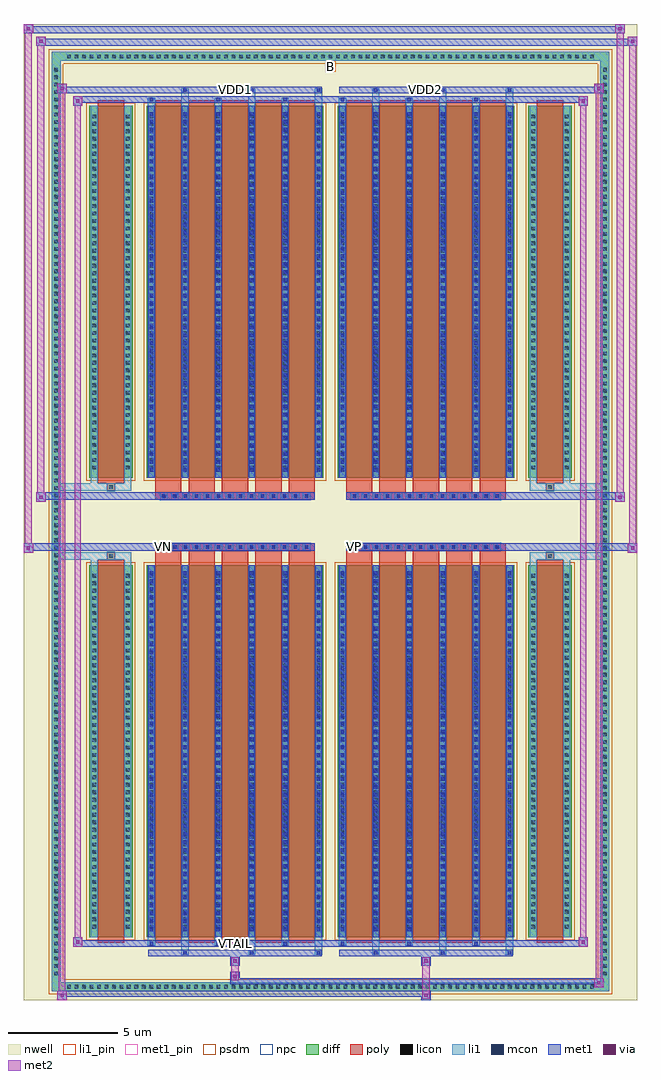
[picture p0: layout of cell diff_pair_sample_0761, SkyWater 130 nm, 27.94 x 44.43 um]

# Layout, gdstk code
import gdstk
lib = gdstk.Library(unit=1e-6, precision=5e-09)
def R(c, l, rs):  # rectangles x0, y0, x1, y1
    for r in rs: c.add(gdstk.rectangle(r[:2], r[2:], *l))
def A(c, l, x, y, w, h, nx, ny, dx, dy):  # array of equal rectangles
    R(c, l, [(x+i*dx, y+j*dy, x+i*dx+w, y+j*dy+h) for i in range(nx) for j in range(ny)])
def P(c, l, *ps):  # polygons
    for p in ps: c.add(gdstk.Polygon(p, *l))
nwell = (64, 20)
diff = (65, 20)
poly = (66, 20)
licon = (66, 44)
li1_pin = (67, 16)
li1 = (67, 20)
mcon = (67, 44)
met1_pin = (68, 16)
met1 = (68, 20)
via = (68, 44)
met2 = (69, 20)
psdm = (94, 20)
npc = (95, 20)

diff_pair_sample_0761 = lib.new_cell('diff_pair_sample_0761')
R(diff_pair_sample_0761, nwell, [(-13.97,-21.78,13.97,22.65), (-11.29,-19.97,-0.01,-0.795), (0.01,-19.97,11.29,-0.795), (-11.29,0.795,-0.01,19.97), (0.01,0.795,11.29,19.97)])
A(diff_pair_sample_0761, diff, -12.105, -21.38, 0.41, 0.41, 71, 2, 0.34, 42.35)
A(diff_pair_sample_0761, diff, -12.7, -20.775, 0.41, 0.41, 1, 122, 0, 0.34)
A(diff_pair_sample_0761, diff, 12.29, -20.775, 0.41, 0.41, 1, 122, 0, 0.34)
R(diff_pair_sample_0761, diff, [(-12.105,-21.38,12.105,-20.97), (-12.7,-20.775,-12.29,20.775), (12.29,-20.775,12.7,20.775), (-10.98,-18.925,-9.01,-1.985), (-8.37,-18.925,-0.32,-1.985), (0.32,-18.925,8.37,-1.985), (9.01,-18.925,10.98,-1.985), (-10.98,1.985,-9.01,18.925), (-8.37,1.985,-0.32,18.925), (0.32,1.985,8.37,18.925), (9.01,1.985,10.98,18.925), (-12.105,20.97,12.105,21.38)])
P(diff_pair_sample_0761, diff, [(12.7,21.38),(-12.7,21.38),(-12.7,-20.97),(-12.29,-20.97),(-12.29,20.97),(12.29,20.97),(12.29,-20.97),(-12.29,-20.97),(-12.7,-20.97),(-12.7,-21.38),(12.7,-21.38)])
A(diff_pair_sample_0761, poly, -7.98, -19.175, 1.19, 17.44, 5, 2, 1.52, 20.91)
A(diff_pair_sample_0761, poly, 0.71, -19.175, 1.19, 17.44, 5, 2, 1.52, 20.91)
A(diff_pair_sample_0761, poly, -7.98, -1.735, 1.19, 0.41, 5, 2, 1.52, 3.06)
A(diff_pair_sample_0761, poly, 0.71, -1.735, 1.19, 0.41, 5, 2, 1.52, 3.06)
A(diff_pair_sample_0761, poly, -7.76, -1.325, 0.33, 0.33, 14, 2, 0.5, 2.32)
A(diff_pair_sample_0761, poly, 0.93, -1.325, 0.33, 0.33, 14, 2, 0.5, 2.32)
R(diff_pair_sample_0761, poly, [(-10.59,-19.175,-9.4,-1.735), (9.4,-19.175,10.59,-1.735), (-10.16,-1.735,-9.83,-1.405), (-10.16,-1.735,-9.83,-1.405), (9.83,-1.735,10.16,-1.405), (9.83,-1.735,10.16,-1.405), (-7.98,-1.325,-0.71,-0.995), (0.71,-1.325,7.98,-0.995), (-7.98,0.995,-0.71,1.325), (0.71,0.995,7.98,1.325), (-10.16,1.405,-9.83,1.735), (-10.16,1.405,-9.83,1.735), (9.83,1.405,10.16,1.735), (9.83,1.405,10.16,1.735), (-10.59,1.735,-9.4,19.175), (9.4,1.735,10.59,19.175)])
A(diff_pair_sample_0761, licon, -11.985, -21.26, 0.17, 0.17, 71, 2, 0.34, 42.35)
A(diff_pair_sample_0761, licon, -12.58, -20.655, 0.17, 0.17, 1, 122, 0, 0.34)
A(diff_pair_sample_0761, licon, 12.41, -20.655, 0.17, 0.17, 1, 122, 0, 0.34)
A(diff_pair_sample_0761, licon, -10.84, -18.53, 0.17, 0.17, 1, 48, 0, 0.34)
A(diff_pair_sample_0761, licon, -9.32, -18.53, 0.17, 0.17, 1, 48, 0, 0.34)
A(diff_pair_sample_0761, licon, -8.23, -18.53, 0.17, 0.17, 6, 48, 1.52, 0.34)
A(diff_pair_sample_0761, licon, 0.46, -18.53, 0.17, 0.17, 6, 48, 1.52, 0.34)
A(diff_pair_sample_0761, licon, 9.15, -18.53, 0.17, 0.17, 1, 48, 0, 0.34)
A(diff_pair_sample_0761, licon, 10.67, -18.53, 0.17, 0.17, 1, 48, 0, 0.34)
A(diff_pair_sample_0761, licon, -7.68, -1.245, 0.17, 0.17, 14, 2, 0.5, 2.32)
A(diff_pair_sample_0761, licon, 1.01, -1.245, 0.17, 0.17, 14, 2, 0.5, 2.32)
A(diff_pair_sample_0761, licon, -10.84, 2.38, 0.17, 0.17, 1, 48, 0, 0.34)
A(diff_pair_sample_0761, licon, -9.32, 2.38, 0.17, 0.17, 1, 48, 0, 0.34)
A(diff_pair_sample_0761, licon, -8.23, 2.38, 0.17, 0.17, 6, 48, 1.52, 0.34)
A(diff_pair_sample_0761, licon, 0.46, 2.38, 0.17, 0.17, 6, 48, 1.52, 0.34)
A(diff_pair_sample_0761, licon, 9.15, 2.38, 0.17, 0.17, 1, 48, 0, 0.34)
A(diff_pair_sample_0761, licon, 10.67, 2.38, 0.17, 0.17, 1, 48, 0, 0.34)
R(diff_pair_sample_0761, licon, [(-10.08,-1.655,-9.91,-1.485), (9.91,-1.655,10.08,-1.485), (-10.08,1.485,-9.91,1.655), (9.91,1.485,10.08,1.655)])
R(diff_pair_sample_0761, li1_pin, [(-0.25,20.47,0.25,20.97)])
A(diff_pair_sample_0761, li1, -12.065, -21.34, 0.33, 0.33, 71, 2, 0.34, 42.35)
A(diff_pair_sample_0761, li1, -12.66, -20.735, 0.33, 0.33, 1, 122, 0, 0.34)
A(diff_pair_sample_0761, li1, 12.33, -20.735, 0.33, 0.33, 1, 122, 0, 0.34)
A(diff_pair_sample_0761, li1, -6.79, -19.73, 0.33, 0.805, 3, 2, 3.04, 38.655)
A(diff_pair_sample_0761, li1, -6.71, -19.73, 0.17, 0.17, 3, 2, 3.04, 39.29)
A(diff_pair_sample_0761, li1, 1.9, -19.73, 0.33, 0.805, 3, 2, 3.04, 38.655)
A(diff_pair_sample_0761, li1, 1.98, -19.73, 0.17, 0.17, 3, 2, 3.04, 39.29)
A(diff_pair_sample_0761, li1, -8.31, -19.3, 0.33, 0.375, 3, 2, 3.04, 38.225)
A(diff_pair_sample_0761, li1, -8.23, -19.3, 0.17, 0.17, 3, 2, 3.04, 38.43)
A(diff_pair_sample_0761, li1, 0.38, -19.3, 0.33, 0.375, 3, 2, 3.04, 38.225)
A(diff_pair_sample_0761, li1, 0.46, -19.3, 0.17, 0.17, 3, 2, 3.04, 38.43)
A(diff_pair_sample_0761, li1, -8.31, -18.925, 0.33, 16.94, 6, 2, 1.52, 20.91)
A(diff_pair_sample_0761, li1, 0.38, -18.925, 0.33, 16.94, 6, 2, 1.52, 20.91)
A(diff_pair_sample_0761, li1, -8.23, -18.64, 0.17, 0.17, 6, 46, 1.52, 0.36)
A(diff_pair_sample_0761, li1, -8.23, -18.64, 0.17, 16.37, 6, 2, 1.52, 20.91)
A(diff_pair_sample_0761, li1, 0.46, -18.64, 0.17, 0.17, 6, 46, 1.52, 0.36)
A(diff_pair_sample_0761, li1, 0.46, -18.64, 0.17, 16.37, 6, 2, 1.52, 20.91)
A(diff_pair_sample_0761, li1, -10.92, -18.61, 0.33, 0.33, 1, 48, 0, 0.34)
A(diff_pair_sample_0761, li1, -9.4, -18.61, 0.33, 0.33, 1, 48, 0, 0.34)
A(diff_pair_sample_0761, li1, -8.31, -18.61, 0.33, 0.33, 6, 48, 1.52, 0.34)
A(diff_pair_sample_0761, li1, 0.38, -18.61, 0.33, 0.33, 6, 48, 1.52, 0.34)
A(diff_pair_sample_0761, li1, 9.07, -18.61, 0.33, 0.33, 1, 48, 0, 0.34)
A(diff_pair_sample_0761, li1, 10.59, -18.61, 0.33, 0.33, 1, 48, 0, 0.34)
A(diff_pair_sample_0761, li1, -7.76, -1.325, 0.33, 0.33, 14, 2, 0.5, 2.32)
A(diff_pair_sample_0761, li1, 0.93, -1.325, 0.33, 0.33, 14, 2, 0.5, 2.32)
A(diff_pair_sample_0761, li1, -8.23, 2.27, 0.17, 0.17, 6, 46, 1.52, 0.36)
A(diff_pair_sample_0761, li1, 0.46, 2.27, 0.17, 0.17, 6, 46, 1.52, 0.36)
A(diff_pair_sample_0761, li1, -10.92, 2.3, 0.33, 0.33, 1, 48, 0, 0.34)
A(diff_pair_sample_0761, li1, -9.4, 2.3, 0.33, 0.33, 1, 48, 0, 0.34)
A(diff_pair_sample_0761, li1, -8.31, 2.3, 0.33, 0.33, 6, 48, 1.52, 0.34)
A(diff_pair_sample_0761, li1, 0.38, 2.3, 0.33, 0.33, 6, 48, 1.52, 0.34)
A(diff_pair_sample_0761, li1, 9.07, 2.3, 0.33, 0.33, 1, 48, 0, 0.34)
A(diff_pair_sample_0761, li1, 10.59, 2.3, 0.33, 0.33, 1, 48, 0, 0.34)
R(diff_pair_sample_0761, li1, [(-12.7,-21.38,-12.29,-20.97), (-12.7,-21.38,-12.29,-20.97), (-12.29,-21.38,12.29,-20.97), (12.29,-21.38,12.7,-20.97), (12.29,-21.38,12.7,-20.97), (-12.7,-20.97,-12.29,20.97), (12.29,-20.97,12.7,20.97), (-10.92,-18.925,-10.59,-1.985), (-9.4,-18.925,-9.07,-1.985), (9.07,-18.925,9.4,-1.985), (10.59,-18.925,10.92,-1.985), (-10.92,-1.985,-10.59,-1.405), (-9.4,-1.985,-9.07,-1.405), (9.07,-1.985,9.4,-1.405), (10.59,-1.985,10.92,-1.405), (-12.7,-1.735,-10.16,-1.405), (-10.92,-1.735,-10.16,-1.405), (-10.16,-1.735,-9.83,-1.405), (-9.83,-1.735,-9.07,-1.405), (9.07,-1.735,9.83,-1.405), (9.83,-1.735,10.16,-1.405), (9.83,-1.735,12.7,-1.405), (10.16,-1.735,10.92,-1.405), (-12.7,1.405,-10.16,1.735), (-10.92,1.405,-10.16,1.735), (-10.92,1.405,-10.59,1.985), (-10.16,1.405,-9.83,1.735), (-9.83,1.405,-9.07,1.735), (-9.4,1.405,-9.07,1.985), (9.07,1.405,9.83,1.735), (9.07,1.405,9.4,1.985), (9.83,1.405,10.16,1.735), (9.83,1.405,12.7,1.735), (10.16,1.405,10.92,1.735), (10.59,1.405,10.92,1.985), (-10.92,1.985,-10.59,18.925), (-9.4,1.985,-9.07,18.925), (9.07,1.985,9.4,18.925), (10.59,1.985,10.92,18.925), (-12.7,20.97,-12.29,21.38), (-12.7,20.97,-12.29,21.38), (-12.29,20.97,12.29,21.38), (12.29,20.97,12.7,21.38), (12.29,20.97,12.7,21.38)])
A(diff_pair_sample_0761, mcon, -6.71, -19.73, 0.17, 0.17, 3, 2, 3.04, 39.29)
A(diff_pair_sample_0761, mcon, 1.98, -19.73, 0.17, 0.17, 3, 2, 3.04, 39.29)
A(diff_pair_sample_0761, mcon, -8.23, -19.3, 0.17, 0.17, 3, 2, 3.04, 38.43)
A(diff_pair_sample_0761, mcon, 0.46, -19.3, 0.17, 0.17, 3, 2, 3.04, 38.43)
A(diff_pair_sample_0761, mcon, -8.23, -18.64, 0.17, 0.17, 6, 46, 1.52, 0.36)
A(diff_pair_sample_0761, mcon, 0.46, -18.64, 0.17, 0.17, 6, 46, 1.52, 0.36)
A(diff_pair_sample_0761, mcon, -7.68, -1.245, 0.17, 0.17, 14, 2, 0.5, 2.32)
A(diff_pair_sample_0761, mcon, 1.01, -1.245, 0.17, 0.17, 14, 2, 0.5, 2.32)
A(diff_pair_sample_0761, mcon, -8.23, 2.27, 0.17, 0.17, 6, 46, 1.52, 0.36)
A(diff_pair_sample_0761, mcon, 0.46, 2.27, 0.17, 0.17, 6, 46, 1.52, 0.36)
R(diff_pair_sample_0761, met1_pin, [(-4.48,-19.34,-4.21,-19.07), (-7.73,-1.285,-7.46,-1.015), (0.96,-1.285,1.23,-1.015), (-4.48,19.52,-4.21,19.79), (4.21,19.52,4.48,19.79)])
A(diff_pair_sample_0761, met1, -6.77, -19.79, 0.29, 0.29, 3, 2, 3.04, 39.29)
A(diff_pair_sample_0761, met1, 1.92, -19.79, 0.29, 0.29, 3, 2, 3.04, 39.29)
A(diff_pair_sample_0761, met1, -8.29, -19.36, 0.29, 0.29, 3, 2, 3.04, 38.43)
A(diff_pair_sample_0761, met1, 0.4, -19.36, 0.29, 0.29, 3, 2, 3.04, 38.43)
A(diff_pair_sample_0761, met1, -8.29, -18.925, 0.29, 16.94, 6, 2, 1.52, 20.91)
A(diff_pair_sample_0761, met1, 0.4, -18.925, 0.29, 16.94, 6, 2, 1.52, 20.91)
A(diff_pair_sample_0761, met1, -8.29, -18.7, 0.29, 0.29, 6, 46, 1.52, 0.36)
A(diff_pair_sample_0761, met1, 0.4, -18.7, 0.29, 0.29, 6, 46, 1.52, 0.36)
A(diff_pair_sample_0761, met1, -7.74, -1.305, 0.29, 0.29, 14, 2, 0.5, 2.32)
A(diff_pair_sample_0761, met1, 0.95, -1.305, 0.29, 0.29, 14, 2, 0.5, 2.32)
A(diff_pair_sample_0761, met1, -8.29, 2.21, 0.29, 0.29, 6, 46, 1.52, 0.36)
A(diff_pair_sample_0761, met1, 0.4, 2.21, 0.29, 0.29, 6, 46, 1.52, 0.36)
R(diff_pair_sample_0761, met1, [(-12.43,-21.78,-12,-21.35), (4.13,-21.78,4.56,-21.35), (-12.43,-21.64,4.56,-21.35), (12,-21.21,12.43,-20.78), (-4.56,-21.07,12.43,-20.78), (-4.56,-20.93,-4.13,-20.5), (-4.56,-20.22,-4.13,-19.79), (4.13,-20.22,4.56,-19.79), (-8.29,-19.79,-0.4,-19.5), (0.4,-19.79,8.29,-19.5), (-11.72,-19.36,-11.29,-18.93), (-11.72,-19.36,-8.29,-19.07), (-8.29,-19.36,-0.4,-19.07), (-0.4,-19.36,0.4,-19.07), (0.4,-19.36,8.29,-19.07), (8.29,-19.36,11.72,-19.07), (11.29,-19.36,11.72,-18.93), (-13.97,-1.425,-13.54,-0.995), (13.54,-1.425,13.97,-0.995), (-13.97,-1.325,-0.71,-0.995), (-7.98,-1.325,-0.71,-0.995), (0.71,-1.325,7.98,-0.995), (0.71,-1.325,13.97,-0.995), (-13.4,0.895,-12.97,1.325), (12.97,0.895,13.4,1.325), (-13.4,0.995,-7.98,1.325), (-7.98,0.995,-0.71,1.325), (0.71,0.995,7.98,1.325), (7.98,0.995,13.4,1.325), (-11.72,18.93,-11.29,19.36), (11.29,18.93,11.72,19.36), (-11.72,19.07,-8.29,19.36), (-8.29,19.07,-0.4,19.36), (-0.4,19.07,0.4,19.36), (0.4,19.07,8.29,19.36), (8.29,19.07,11.72,19.36), (-12.43,19.5,-12,19.93), (-12.43,19.5,-8.29,19.79), (-8.29,19.5,-0.4,19.79), (0.4,19.5,8.29,19.79), (8.29,19.5,12.43,19.79), (12,19.5,12.43,19.93), (-13.4,21.65,-12.97,22.08), (-13.4,21.65,-11.29,21.98), (-11.29,21.65,11.29,21.98), (11.29,21.65,13.97,21.98), (13.54,21.65,13.97,22.08), (-13.97,22.22,-13.54,22.65), (-13.97,22.22,-11.29,22.55), (-11.29,22.22,11.29,22.55), (11.29,22.22,13.4,22.55), (12.97,22.22,13.4,22.65)])
R(diff_pair_sample_0761, via, [(-12.29,-21.64,-12.14,-21.49), (4.27,-21.64,4.42,-21.49), (12.14,-21.07,12.29,-20.92), (-4.42,-20.79,-4.27,-20.64), (-4.42,-20.08,-4.27,-19.93), (4.27,-20.08,4.42,-19.93), (-11.58,-19.22,-11.43,-19.07), (11.43,-19.22,11.58,-19.07), (-13.83,-1.285,-13.68,-1.135), (13.68,-1.285,13.83,-1.135), (-13.26,1.035,-13.11,1.185), (13.11,1.035,13.26,1.185), (-11.58,19.07,-11.43,19.22), (11.43,19.07,11.58,19.22), (-12.29,19.64,-12.14,19.79), (12.14,19.64,12.29,19.79), (-13.26,21.79,-13.11,21.94), (13.68,21.79,13.83,21.94), (-13.83,22.36,-13.68,22.51), (13.11,22.36,13.26,22.51)])
R(diff_pair_sample_0761, met2, [(-12.43,-21.78,-12,-21.35), (-12.36,-21.78,-12.07,19.93), (-12.07,-21.78,-12,-21.35), (-12.38,-21.73,-12.05,-21.4), (4.18,-21.73,4.51,-21.4), (4.18,-21.4,4.51,-20.17), (12,-21.21,12.43,-20.78), (12.07,-21.21,12.36,19.93), (12.36,-21.21,12.43,-20.78), (12.05,-21.16,12.38,-20.83), (-4.51,-20.88,-4.18,-20.55), (-4.51,-20.55,-4.18,-20.17), (-4.51,-20.17,-4.18,-19.84), (4.18,-20.17,4.51,-19.84), (-11.72,-19.36,-11.29,-18.93), (-11.65,-19.36,-11.36,19.36), (-11.36,-19.36,-11.29,-18.93), (11.29,-19.36,11.72,-18.93), (11.36,-19.36,11.65,19.36), (11.65,-19.36,11.72,-18.93), (-11.67,-19.31,-11.34,-18.98), (11.34,-19.31,11.67,-18.98), (-13.97,-1.425,-13.54,-0.995), (-13.92,-1.425,-13.59,22.65), (-13.59,-1.425,-13.54,-0.995), (13.54,-1.425,13.97,-0.995), (13.59,-1.425,13.92,22.08), (13.92,-1.425,13.97,-0.995), (-13.92,-1.375,-13.59,-1.045), (13.59,-1.375,13.92,-1.045), (-13.4,0.895,-12.97,1.325), (-13.35,0.895,-13.02,22.08), (-13.02,0.895,-12.97,1.325), (12.97,0.895,13.4,1.325), (13.02,0.895,13.35,22.65), (13.35,0.895,13.4,1.325), (-13.35,0.945,-13.02,1.275), (13.02,0.945,13.35,1.275), (-11.72,18.93,-11.29,19.36), (-11.36,18.93,-11.29,19.36), (11.29,18.93,11.72,19.36), (11.65,18.93,11.72,19.36), (-11.67,18.98,-11.34,19.31), (11.34,18.98,11.67,19.31), (-12.43,19.5,-12,19.93), (-12.07,19.5,-12,19.93), (12,19.5,12.43,19.93), (12.36,19.5,12.43,19.93), (-12.38,19.55,-12.05,19.88), (12.05,19.55,12.38,19.88), (-13.4,21.65,-12.97,22.08), (-13.02,21.65,-12.97,22.08), (13.54,21.65,13.97,22.08), (13.92,21.65,13.97,22.08), (-13.35,21.7,-13.02,22.03), (13.59,21.7,13.92,22.03), (-13.97,22.22,-13.54,22.65), (-13.59,22.22,-13.54,22.65), (12.97,22.22,13.4,22.65), (13.35,22.22,13.4,22.65), (-13.92,22.27,-13.59,22.6), (13.02,22.27,13.35,22.6)])
R(diff_pair_sample_0761, psdm, [(-11.11,-19.055,-8.88,-1.855), (-8.5,-19.055,-0.19,-1.855), (0.19,-19.055,8.5,-1.855), (8.88,-19.055,11.11,-1.855), (-11.11,1.855,-8.88,19.055), (-8.5,1.855,-0.19,19.055), (0.19,1.855,8.5,19.055), (8.88,1.855,11.11,19.055)])
P(diff_pair_sample_0761, psdm, [(12.83,21.51),(-12.83,21.51),(-12.83,-20.84),(-12.16,-20.84),(-12.16,20.84),(12.16,20.84),(12.16,-20.84),(-12.16,-20.84),(-12.83,-20.84),(-12.83,-21.51),(12.83,-21.51)])
A(diff_pair_sample_0761, npc, -7.78, -1.345, 0.37, 0.37, 14, 2, 0.5, 2.32)
A(diff_pair_sample_0761, npc, 0.91, -1.345, 0.37, 0.37, 14, 2, 0.5, 2.32)
R(diff_pair_sample_0761, npc, [(-10.18,-1.755,-9.81,-1.385), (9.81,-1.755,10.18,-1.385), (-7.78,-1.345,-6.91,-0.975), (-7.78,-1.345,-6.91,-0.975), (-7.28,-1.345,-6.41,-0.975), (-7.28,-1.345,-6.41,-0.975), (-6.78,-1.345,-5.91,-0.975), (-6.78,-1.345,-5.91,-0.975), (-6.28,-1.345,-5.41,-0.975), (-6.28,-1.345,-5.41,-0.975), (-5.78,-1.345,-4.91,-0.975), (-5.78,-1.345,-4.91,-0.975), (-5.28,-1.345,-4.41,-0.975), (-5.28,-1.345,-4.41,-0.975), (-4.78,-1.345,-3.91,-0.975), (-4.78,-1.345,-3.91,-0.975), (-4.28,-1.345,-3.41,-0.975), (-4.28,-1.345,-3.41,-0.975), (-3.78,-1.345,-2.91,-0.975), (-3.78,-1.345,-2.91,-0.975), (-3.28,-1.345,-2.41,-0.975), (-3.28,-1.345,-2.41,-0.975), (-2.78,-1.345,-1.91,-0.975), (-2.78,-1.345,-1.91,-0.975), (-2.28,-1.345,-1.41,-0.975), (-2.28,-1.345,-1.41,-0.975), (-1.78,-1.345,-0.91,-0.975), (-1.78,-1.345,-0.91,-0.975), (0.91,-1.345,1.78,-0.975), (0.91,-1.345,1.78,-0.975), (1.41,-1.345,2.28,-0.975), (1.41,-1.345,2.28,-0.975), (1.91,-1.345,2.78,-0.975), (1.91,-1.345,2.78,-0.975), (2.41,-1.345,3.28,-0.975), (2.41,-1.345,3.28,-0.975), (2.91,-1.345,3.78,-0.975), (2.91,-1.345,3.78,-0.975), (3.41,-1.345,4.28,-0.975), (3.41,-1.345,4.28,-0.975), (3.91,-1.345,4.78,-0.975), (3.91,-1.345,4.78,-0.975), (4.41,-1.345,5.28,-0.975), (4.41,-1.345,5.28,-0.975), (4.91,-1.345,5.78,-0.975), (4.91,-1.345,5.78,-0.975), (5.41,-1.345,6.28,-0.975), (5.41,-1.345,6.28,-0.975), (5.91,-1.345,6.78,-0.975), (5.91,-1.345,6.78,-0.975), (6.41,-1.345,7.28,-0.975), (6.41,-1.345,7.28,-0.975), (6.91,-1.345,7.78,-0.975), (6.91,-1.345,7.78,-0.975), (-7.78,0.975,-6.91,1.345), (-7.78,0.975,-6.91,1.345), (-7.28,0.975,-6.41,1.345), (-7.28,0.975,-6.41,1.345), (-6.78,0.975,-5.91,1.345), (-6.78,0.975,-5.91,1.345), (-6.28,0.975,-5.41,1.345), (-6.28,0.975,-5.41,1.345), (-5.78,0.975,-4.91,1.345), (-5.78,0.975,-4.91,1.345), (-5.28,0.975,-4.41,1.345), (-5.28,0.975,-4.41,1.345), (-4.78,0.975,-3.91,1.345), (-4.78,0.975,-3.91,1.345), (-4.28,0.975,-3.41,1.345), (-4.28,0.975,-3.41,1.345), (-3.78,0.975,-2.91,1.345), (-3.78,0.975,-2.91,1.345), (-3.28,0.975,-2.41,1.345), (-3.28,0.975,-2.41,1.345), (-2.78,0.975,-1.91,1.345), (-2.78,0.975,-1.91,1.345), (-2.28,0.975,-1.41,1.345), (-2.28,0.975,-1.41,1.345), (-1.78,0.975,-0.91,1.345), (-1.78,0.975,-0.91,1.345), (0.91,0.975,1.78,1.345), (0.91,0.975,1.78,1.345), (1.41,0.975,2.28,1.345), (1.41,0.975,2.28,1.345), (1.91,0.975,2.78,1.345), (1.91,0.975,2.78,1.345), (2.41,0.975,3.28,1.345), (2.41,0.975,3.28,1.345), (2.91,0.975,3.78,1.345), (2.91,0.975,3.78,1.345), (3.41,0.975,4.28,1.345), (3.41,0.975,4.28,1.345), (3.91,0.975,4.78,1.345), (3.91,0.975,4.78,1.345), (4.41,0.975,5.28,1.345), (4.41,0.975,5.28,1.345), (4.91,0.975,5.78,1.345), (4.91,0.975,5.78,1.345), (5.41,0.975,6.28,1.345), (5.41,0.975,6.28,1.345), (5.91,0.975,6.78,1.345), (5.91,0.975,6.78,1.345), (6.41,0.975,7.28,1.345), (6.41,0.975,7.28,1.345), (6.91,0.975,7.78,1.345), (6.91,0.975,7.78,1.345), (-10.18,1.385,-9.81,1.755), (9.81,1.385,10.18,1.755)])
diff_pair_sample_0761.add(gdstk.Label('VTAIL', (-4.345,-19.205), layer=68, texttype=5))
diff_pair_sample_0761.add(gdstk.Label('VN', (-7.595,-1.15), layer=68, texttype=5))
diff_pair_sample_0761.add(gdstk.Label('VP', (1.095,-1.15), layer=68, texttype=5))
diff_pair_sample_0761.add(gdstk.Label('B', (0,20.72), layer=67, texttype=5))
diff_pair_sample_0761.add(gdstk.Label('VDD2', (4.345,19.655), layer=68, texttype=5))
diff_pair_sample_0761.add(gdstk.Label('VDD1', (-4.345,19.655), layer=68, texttype=5))

lib.write_gds('diff_pair_sample_0761.gds')
